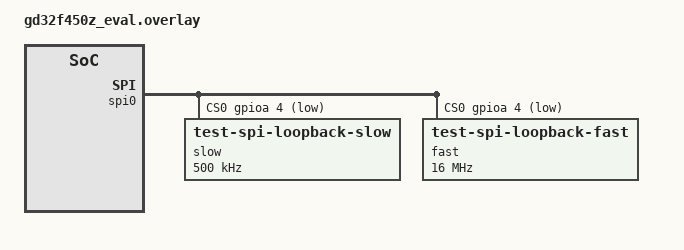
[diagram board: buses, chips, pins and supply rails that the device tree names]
/*
 * SPDX-License-Identifier: Apache-2.0
 *
 * Copyright (c) 2022 TOKITA Hiroshi <tokita.hiroshi@gmail.com>
 */

#include <dt-bindings/dma/gd32_dma.h>

&dma1 {
	status = "okay";
};

&pinctrl {
	spi0_default: spi0_default {
		group1 {
			pinmux = <SPI0_MISO_PA6>, <SPI0_SCK_PA5>,
				 <SPI0_MOSI_PA7>, <SPI0_NSS_PA4>;
		};
	};
};

&spi0 {
	status = "okay";
	pinctrl-0 = <&spi0_default>;
	pinctrl-names = "default";

	cs-gpios = <&gpioa 4 GPIO_ACTIVE_LOW>;

	dmas = <&dma1 0 3 0 0>, <&dma1 5 3 0 0>;
	dma-names = "rx", "tx";

	slow@0 {
		compatible = "test-spi-loopback-slow";
		reg = <0>;
		spi-max-frequency = <500000>;
	};
	fast@0 {
		compatible = "test-spi-loopback-fast";
		reg = <0>;
		spi-max-frequency = <16000000>;
	};
};
